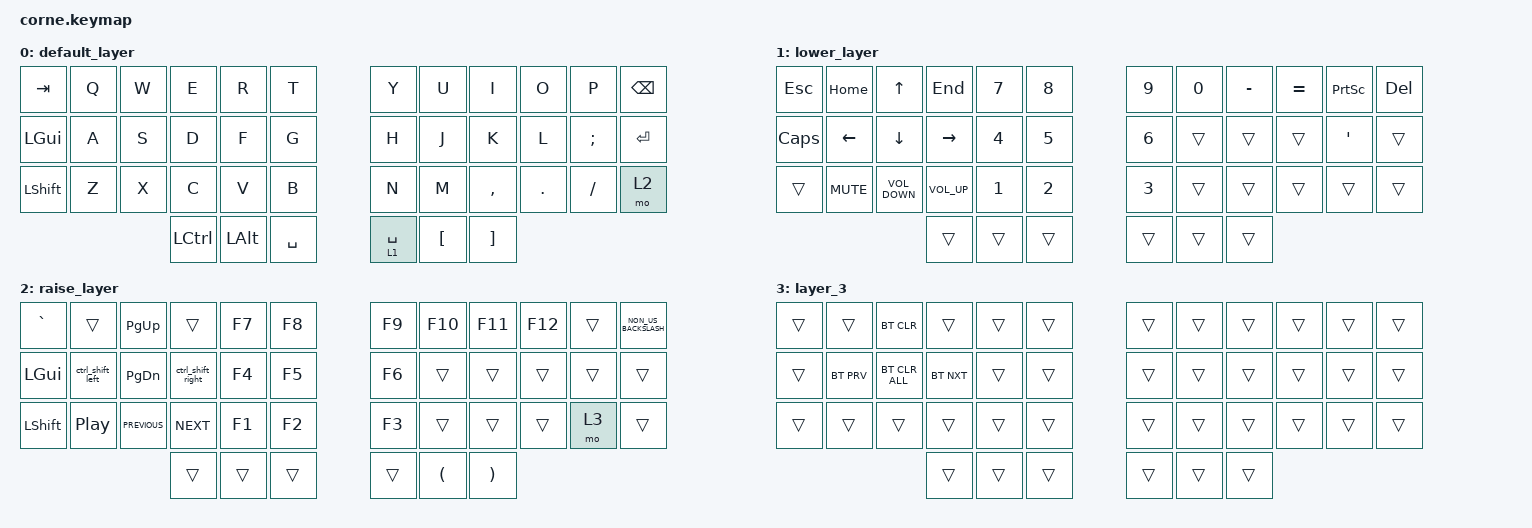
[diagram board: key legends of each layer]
/*
 * Copyright (c) 2020 The ZMK Contributors
 *
 * SPDX-License-Identifier: MIT
 */

#include <behaviors.dtsi>
#include <dt-bindings/zmk/bt.h>
#include <dt-bindings/zmk/keys.h>

/ {
    macros {
        ctrl_shift_left: ctrl_shift_left {
            compatible = "zmk,behavior-macro";
            #binding-cells = <0>;
            bindings =
                <&macro_press>,
                <&kp LCTRL>,
                <&macro_press>,
                <&kp LEFT_SHIFT>,
                <&macro_tap>,
                <&kp LEFT>,
                <&macro_release>,
                <&kp LCTRL>,
                <&macro_release>,
                <&kp LEFT_SHIFT>;

            label = "CTRL_SHIFT_LEFT";
        };

        ctrl_shift_right: ctrl_shift_right {
            compatible = "zmk,behavior-macro";
            #binding-cells = <0>;
            bindings =
                <&macro_press>,
                <&kp LCTRL>,
                <&macro_press>,
                <&kp LEFT_SHIFT>,
                <&macro_tap>,
                <&kp RIGHT>,
                <&macro_release>,
                <&kp LCTRL>,
                <&macro_release>,
                <&kp LEFT_SHIFT>;

            label = "CTRL_SHIFT_RIGHT";
        };
    };

    keymap {
        compatible = "zmk,keymap";

        default_layer {
            // -----------------------------------------------------------------------------------------
            // |  TAB |  Q  |  W  |  E  |  R  |  T  |   |  Y  |  U   |  I  |  O  |  P  | BKSP |
            // | CTRL |  A  |  S  |  D  |  F  |  G  |   |  H  |  J   |  K  |  L  |  ;  |  '   |
            // | SHFT |  Z  |  X  |  C  |  V  |  B  |   |  N  |  M   |  ,  |  .  |  /  | ESC  |
            //                    | GUI | LWR | SPC |   | ENT | RSE  | ALT |

            bindings = <
&kp TAB       &kp Q  &kp W  &kp E      &kp R         &kp T        &kp Y        &kp U             &kp I              &kp O    &kp P     &kp BSPC
&kp LEFT_GUI  &kp A  &kp S  &kp D      &kp F         &kp G        &kp H        &kp J             &kp K              &kp L    &kp SEMI  &kp ENTER
&kp LSHFT     &kp Z  &kp X  &kp C      &kp V         &kp B        &kp N        &kp M             &kp COMMA          &kp DOT  &kp FSLH  &mo 2
                            &kp LCTRL  &kp LEFT_ALT  &kp SPACE    &lt 1 SPACE  &kp LEFT_BRACKET  &kp RIGHT_BRACKET
            >;
        };

        lower_layer {
            // -----------------------------------------------------------------------------------------
            // |  TAB |  1  |  2  |  3  |  4  |  5  |   |  6  |  7  |  8  |  9  |  0  | BKSP |
            // | BTCLR| BT1 | BT2 | BT3 | BT4 | BT5 |   | LFT | DWN |  UP | RGT |     |      |
            // | SHFT |     |     |     |     |     |   |     |     |     |     |     |      |
            //                    | GUI |     | SPC |   | ENT |     | ALT |

            bindings = <
&kp ESCAPE    &kp HOME    &kp UP_ARROW       &kp END          &kp NUMBER_7  &kp NUMBER_8    &kp NUMBER_9  &kp N0  &kp MINUS  &kp EQUAL  &kp PRINTSCREEN  &kp DELETE
&kp CAPSLOCK  &kp LEFT    &kp DOWN           &kp RIGHT        &kp NUMBER_4  &kp NUMBER_5    &kp NUMBER_6  &trans  &trans     &trans     &kp APOSTROPHE   &trans
&trans        &kp C_MUTE  &kp C_VOLUME_DOWN  &kp C_VOLUME_UP  &kp NUMBER_1  &kp NUMBER_2    &kp NUMBER_3  &trans  &trans     &trans     &trans           &trans
                                             &trans           &trans        &trans          &trans        &trans  &trans
            >;
        };

        raise_layer {
            // -----------------------------------------------------------------------------------------
            // |  TAB |  !  |  @  |  #  |  $  |  %  |   |  ^  |  &  |  *  |  (  |  )  | BKSP |
            // | CTRL |     |     |     |     |     |   |  -  |  =  |  [  |  ]  |  \  |  `   |
            // | SHFT |     |     |     |     |     |   |  _  |  +  |  {  |  }  | "|" |  ~   |
            //                    | GUI |     | SPC |   | ENT |     | ALT |

            bindings = <
&kp GRAVE       &trans            &kp PAGE_UP     &trans             &kp F7  &kp F8    &kp F9  &kp F10               &kp F11                &kp F12  &trans  &kp NON_US_BACKSLASH
&kp LEFT_GUI    &ctrl_shift_left  &kp PAGE_DOWN   &ctrl_shift_right  &kp F4  &kp F5    &kp F6  &trans                &trans                 &trans   &trans  &trans
&kp LEFT_SHIFT  &kp C_PLAY_PAUSE  &kp C_PREVIOUS  &kp C_NEXT         &kp F1  &kp F2    &kp F3  &trans                &trans                 &trans   &mo 3   &trans
                                                  &trans             &trans  &trans    &trans  &kp LEFT_PARENTHESIS  &kp RIGHT_PARENTHESIS
            >;
        };

        layer_3 {
            bindings = <
&trans  &trans      &bt BT_CLR      &trans      &trans  &trans    &trans  &trans  &trans  &trans  &trans  &trans
&trans  &bt BT_PRV  &bt BT_CLR_ALL  &bt BT_NXT  &trans  &trans    &trans  &trans  &trans  &trans  &trans  &trans
&trans  &trans      &trans          &trans      &trans  &trans    &trans  &trans  &trans  &trans  &trans  &trans
                                    &trans      &trans  &trans    &trans  &trans  &trans
            >;
        };
    };
};
